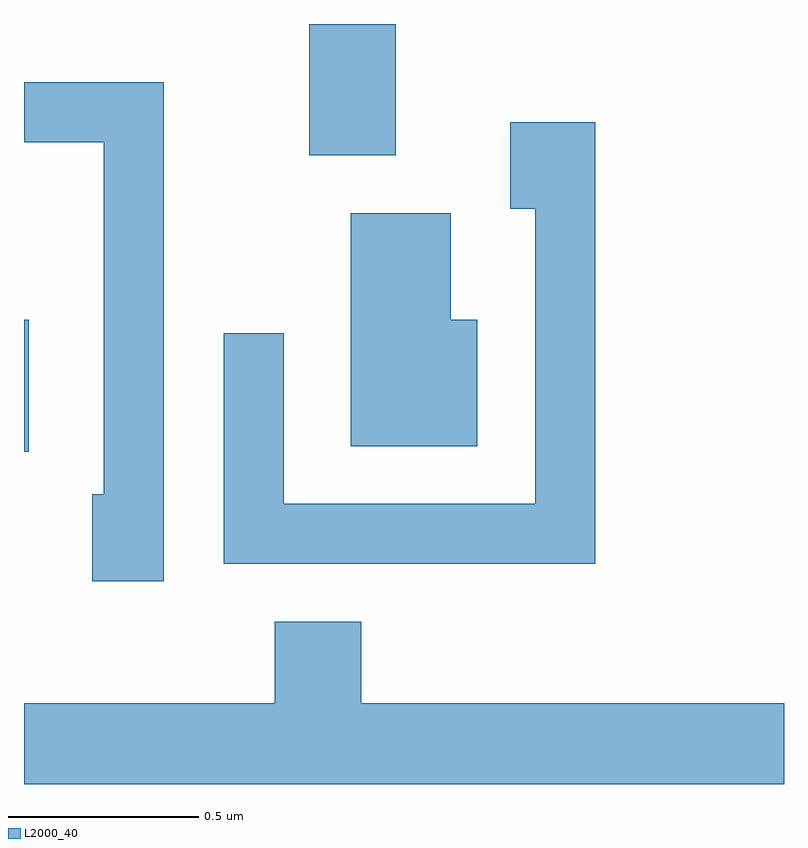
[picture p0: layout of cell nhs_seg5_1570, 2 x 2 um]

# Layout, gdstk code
import gdstk
lib = gdstk.Library(unit=1e-6, precision=1e-09)
def R(c, l, rs):  # rectangles x0, y0, x1, y1
    for r in rs: c.add(gdstk.rectangle(r[:2], r[2:], *l))
def P(c, l, *ps):  # polygons
    for p in ps: c.add(gdstk.Polygon(p, *l))
L2000_40 = (2000, 40)

nhs_seg5_1570 = lib.new_cell('nhs_seg5_1570')
R(nhs_seg5_1570, L2000_40, [(196.611,1459.946,196.624,1460.294), (197.361,1460.726,197.589,1461.072)])
P(nhs_seg5_1570, L2000_40, [(196.979,1460.919),(196.611,1460.919),(196.611,1460.761),(196.821,1460.761),(196.821,1459.834),(196.791,1459.834),(196.791,1459.606),(196.979,1459.606)],
  [(198.114,1460.814),(197.891,1460.814),(197.891,1460.586),(197.956,1460.586),(197.956,1459.809),(197.294,1459.809),(197.294,1460.258),(197.136,1460.258),(197.136,1459.651),(198.114,1459.651)],
  [(197.804,1460.294),(197.734,1460.294),(197.734,1460.574),(197.471,1460.574),(197.471,1459.961),(197.804,1459.961)],
  [(198.611,1459.284),(197.499,1459.284),(197.499,1459.499),(197.271,1459.499),(197.271,1459.284),(196.611,1459.284),(196.611,1459.072),(198.611,1459.072)])

lib.write_gds('nhs_seg5_1570.gds')
